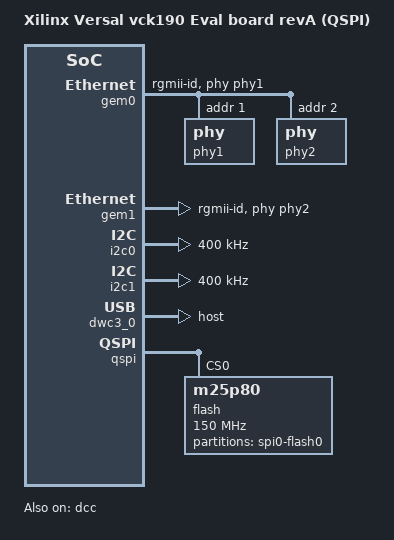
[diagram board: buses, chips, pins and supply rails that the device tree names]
// SPDX-License-Identifier: GPL-2.0
/*
 * dts file for Xilinx Versal vck190 revA with X-EBM-01-revA module
 *
 * (C) Copyright 2019, Xilinx, Inc.
 *
 * Michal Simek <michal.simek@xilinx.com>
 */

/ {
	compatible = "xlnx,versal-vck190-revA-x-ebm-01-revA",
		     "xlnx,versal-vck190-revA", "xlnx,versal";
	model = "Xilinx Versal vck190 Eval board revA (QSPI)";

	chosen {
		bootargs = "console=ttyAMA0 earlycon=pl011,mmio32,0xFF000000,115200n8 clk_ignore_unused";
		stdout-path = "serial0:115200";
	};

	aliases {
		serial0 = &serial0;
		ethernet0 = &gem0;
		ethernet1 = &gem1;
		i2c0 = &i2c0;
		i2c1 = &i2c1;
		mmc0 = &sdhci1;
		spi0 = &qspi;
		usb0 = &usb0;
		rtc0 = &rtc;
	};
};

/* PMC_MIO 0 -12 - configuration header QSPI/OSPI/EMMC */
/* FIXME PMC_MIO37 ZU4_TRIGGER/PMC_MIO37/38 PCIE */

&dcc {
	status = "okay";
};

&sdhci1 { /* PMC_MIO26-36/51 */
	xlnx,mio-bank = <1>;
	no-1-8-v;
};

&gem0 { /* PMC_MIO_48, LPD_MIO0-11/24/25 */
	phy-handle = <&phy1>; /* u128 */
	phy-mode = "rgmii-id";
	phy1: phy@1 {
		reg = <1>;
		ti,rx-internal-delay = <0xb>;
		ti,tx-internal-delay = <0xa>;
		ti,fifo-depth = <1>;
		ti,dp83867-rxctrl-strap-quirk;
	};
	phy2: phy@2 {
		reg = <2>;
		ti,rx-internal-delay = <0xb>;
		ti,tx-internal-delay = <0xa>;
		ti,fifo-depth = <1>;
		ti,dp83867-rxctrl-strap-quirk;
	};
};

&gem1 { /* PMC_MIO_49, LPD_MIO12-23 */
	phy-handle = <&phy2>; /* u134 */
	phy-mode = "rgmii-id";
};

&i2c0 { /* PMC_MIO46/47 */
	clock-frequency = <400000>;
};

&i2c1 { /* PMC_MIO44/45 */
	clock-frequency = <400000>;
};

&usb0 { /* PMC_MIO13_500 - PMC_MIO25 USB 2.0 */
	xlnx,usb-polarity = <0x0>;
	xlnx,usb-reset-mode = <0x0>;
};

&dwc3_0 { /* USB 2.0 host */
	dr_mode = "host";
	maximum-speed = "high-speed";
	snps,dis_u2_susphy_quirk;
	snps,dis_u3_susphy_quirk;
	snps,usb3_lpm_capable;
};

&qspi {
        num-cs = <1>;
        spi-tx-bus-width = <1>;
        spi-rx-bus-width = <4>;
        #address-cells = <1>;
        #size-cells = <0>;
        is-dual = <1>;
        flash@0 {
                #address-cells = <1>;
                #size-cells = <1>;
		compatible = "m25p80", "jedec,spi-nor"; /* 256MB */
                reg = <0>;
                spi-tx-bus-width = <1>;
                spi-rx-bus-width = <4>;
		spi-max-frequency = <150000000>;
                partition@0 {
                        label = "spi0-flash0";
                        reg = <0x0 0x10000000>;
                };
        };
};
